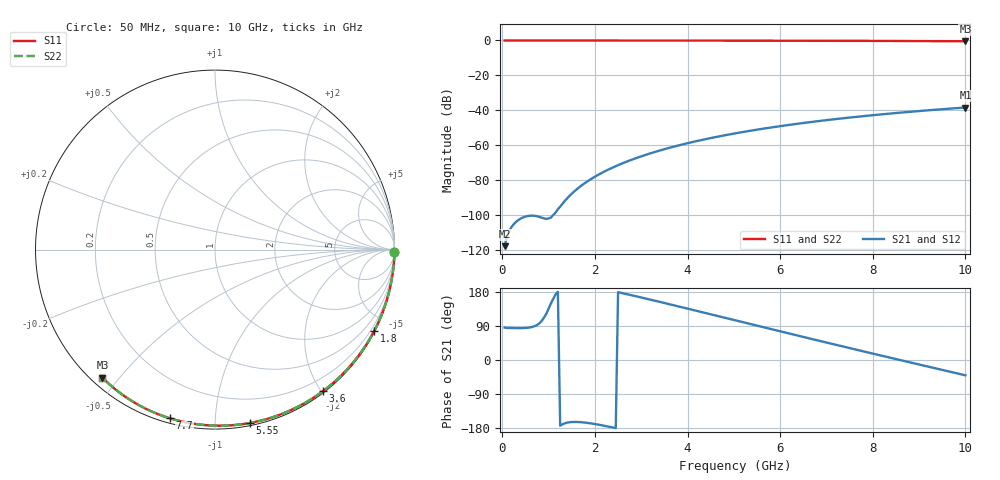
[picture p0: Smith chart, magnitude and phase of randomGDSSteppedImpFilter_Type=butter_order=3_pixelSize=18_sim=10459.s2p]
! freq	dB(S11)	phase(S11)	dB(S12)	phase(S12)
!  dB(S21)	phase(S21)	dB(S22)	phase(S22)
!S-par simulation data
#  GHz  S  DB  R 50
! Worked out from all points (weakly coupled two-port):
!   200 points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, 50 MHz to 10 GHz, reference 50 ohm
!   highest |S21| = -38.42 dB at 10 GHz (marker M1); lowest = -117.9 dB at 50 MHz (marker M2)
!   lowest |S11| = -0.4 dB at 10 GHz (marker M3), VSWR 39.11, Z = 1.54 - j22.6 ohm
!   |S11| at or under -10 dB: nowhere
!   |S22| runs from -0.4 to 0.0 dB; largest |S21 - S12| = 0
!   S11 on the Smith chart (normalised r, x): 50 MHz: open; 1.8 GHz: 0.04, -4.18; 3.6 GHz: 0.02, -2.02; 5.55 GHz: 0.02, -1.22; 7.7 GHz: 0.02, -0.77; 10 GHz: 0.03, -0.45
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0.05  -0.00 -0.8  -117.86 85.7  -117.86 85.7  -0.00 -0.8
0.9  -0.02 -13.6  -101.95 111.8  -101.95 111.8  -0.02 -13.6
1.75  -0.03 -26.2  -82.34 -164.7  -82.34 -164.7  -0.03 -26.2
1.8  -0.03 -26.9  -81.40 -165.4  -81.40 -165.4  -0.03 -26.9
1.85  -0.04 -27.6  -80.52 -166.2  -80.52 -166.2  -0.04 -27.6
1.9  -0.04 -28.4  -79.66 -167.0  -79.66 -167.0  -0.04 -28.4
2.05  -0.04 -30.6  -77.29 -170.0  -77.29 -170.0  -0.04 -30.6
2.25  -0.04 -33.5  -74.49 -174.7  -74.49 -174.7  -0.04 -33.5
2.45  -0.05 -36.4  -72.01 -179.8  -72.01 -179.8  -0.05 -36.4
2.65  -0.05 -39.2  -69.79 174.9  -69.79 174.9  -0.05 -39.2
3  -0.06 -44.2  -66.39 165.0  -66.39 165.0  -0.06 -44.2
3.4  -0.07 -49.8  -63.05 153.4  -63.05 153.4  -0.07 -49.8
3.6  -0.07 -52.6  -61.56 147.5  -61.56 147.5  -0.07 -52.6
4.3  -0.09 -62.2  -57.05 126.6  -57.05 126.6  -0.09 -62.2
5.05  -0.11 -72.1  -53.12 104.1  -53.12 104.1  -0.11 -72.1
5.55  -0.13 -78.6  -50.89 89.1  -50.89 89.1  -0.13 -78.6
6.1  -0.15 -85.6  -48.71 72.7  -48.71 72.7  -0.15 -85.6
6.7  -0.18 -93.0  -46.61 54.9  -46.61 54.9  -0.18 -93.0
7.7  -0.24 -105.0  -43.61 25.6  -43.61 25.6  -0.24 -105.0
8.35  -0.29 -112.6  -41.94 6.8  -41.94 6.8  -0.29 -112.6
9.15  -0.36 -121.7  -40.12 -16.2  -40.12 -16.2  -0.36 -121.7
10  -0.44 -131.3  -38.42 -40.4  -38.42 -40.4  -0.44 -131.3
